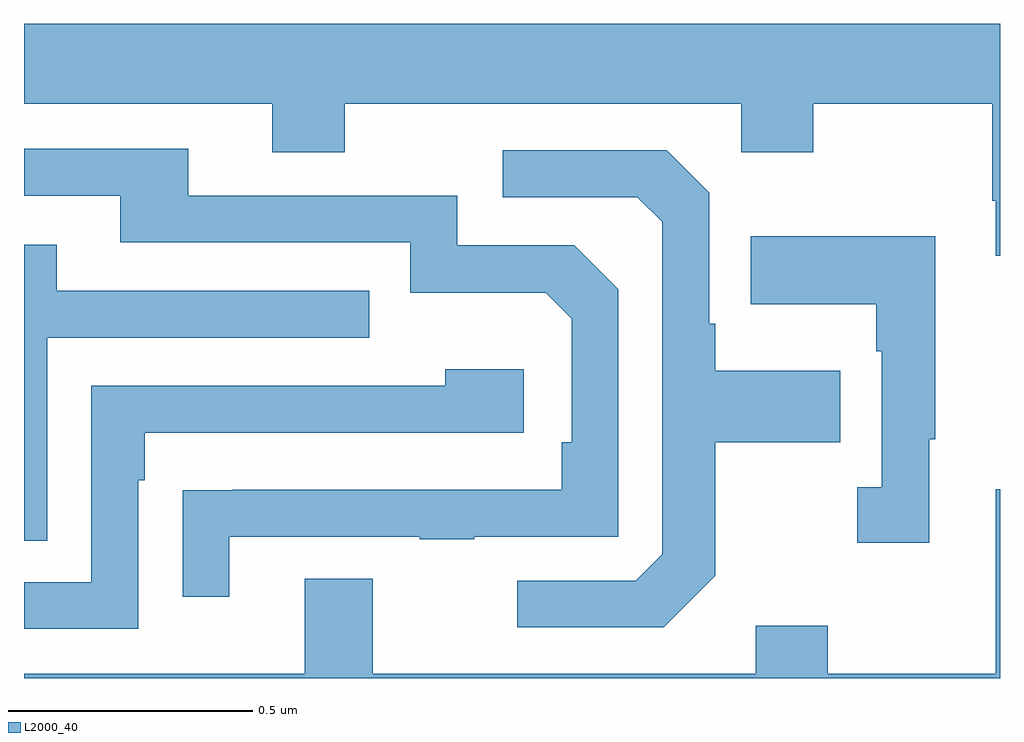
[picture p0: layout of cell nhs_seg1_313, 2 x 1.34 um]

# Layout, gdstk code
import gdstk
lib = gdstk.Library(unit=1e-6, precision=1e-09)
def P(c, l, *ps):  # polygons
    for p in ps: c.add(gdstk.Polygon(p, *l))
L2000_40 = (2000, 40)

nhs_seg1_313 = lib.new_cell('nhs_seg1_313')
P(nhs_seg1_313, L2000_40, [(116,574.54),(114,574.54),(114,574.376),(114.509,574.376),(114.509,574.277),(114.657,574.277),(114.657,574.376),(115.47,574.376),(115.47,574.277),(115.617,574.277),(115.617,574.376),(115.984,574.376),(115.984,574.177),(115.991,574.177),(115.991,574.065),(116,574.065)],
  [(114.421,573.489),(114.811,573.489),(114.811,573.484),(114.923,573.484),(114.923,573.489),(115.218,573.489),(115.218,573.996),(115.128,574.086),(114.888,574.086),(114.888,574.188),(114.337,574.188),(114.337,574.284),(114,574.284),(114,574.188),(114.197,574.188),(114.197,574.092),(114.792,574.092),(114.792,573.989),(115.069,573.989),(115.122,573.936),(115.122,573.682),(115.102,573.682),(115.102,573.585),(114.427,573.585),(114.427,573.584),(114.325,573.584),(114.325,573.366),(114.421,573.366)],
  [(115.417,573.409),(115.417,573.682),(115.673,573.682),(115.673,573.829),(115.417,573.829),(115.417,573.925),(115.404,573.925),(115.404,574.194),(115.317,574.281),(114.981,574.281),(114.981,574.185),(115.257,574.185),(115.308,574.134),(115.308,573.453),(115.254,573.399),(115.011,573.399),(115.011,573.303),(115.311,573.303)],
  [(115.855,573.689),(115.867,573.689),(115.867,574.105),(115.489,574.105),(115.489,573.965),(115.746,573.965),(115.746,573.869),(115.758,573.869),(115.758,573.59),(115.707,573.59),(115.707,573.477),(115.855,573.477)],
  [(114.048,573.897),(114.707,573.897),(114.707,573.993),(114.067,573.993),(114.067,574.087),(114,574.087),(114,573.481),(114.048,573.481)],
  [(114.234,573.605),(114.247,573.605),(114.247,573.702),(115.024,573.702),(115.024,573.832),(114.863,573.832),(114.863,573.798),(114.138,573.798),(114.138,573.396),(114,573.396),(114,573.3),(114.234,573.3)],
  [(116,573.586),(115.991,573.586),(115.991,573.208),(115.647,573.208),(115.647,573.307),(115.499,573.307),(115.499,573.208),(114.715,573.208),(114.715,573.403),(114.575,573.403),(114.575,573.208),(114,573.208),(114,573.199),(116,573.199)])

lib.write_gds('nhs_seg1_313.gds')
